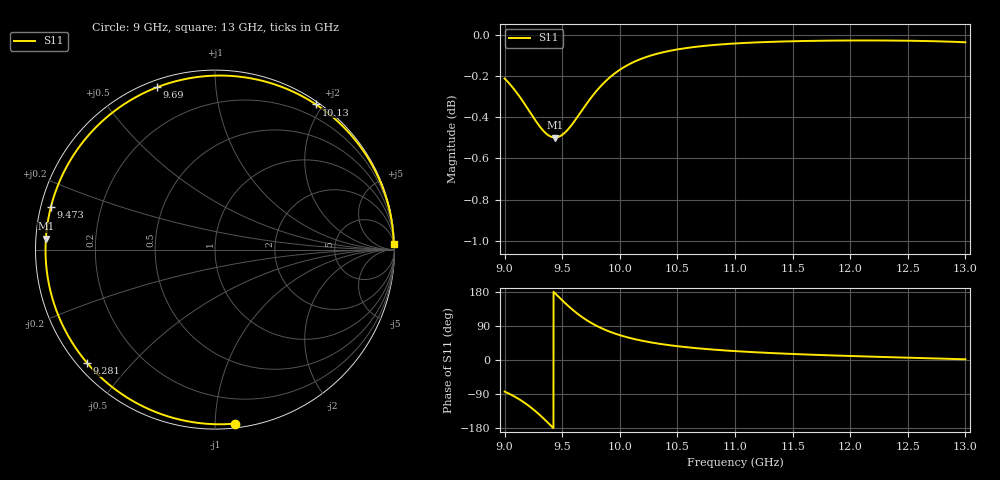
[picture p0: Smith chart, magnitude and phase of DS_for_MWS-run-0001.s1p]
! TOUCHSTONE file generated by CST DESIGN STUDIO
! Date and time: Tue Feb  4 14:15:53 2025
! Project name: C:\Work\MatlabApps\UnitCellOptimizationMatlab\CST\unitcell.cst
! Tree item: Tasks\Sweep1\SPara1\S-Parameters
! Header version: 2024
! Port assignment regex: !\s*Touchstone port\s*([0-9]+)\s*=\s*(CST MWS port|CST DES external port|CST DES block port)\s*(.+)\s* \(\"(.*)\"\)(\s*mode\s*([0-9]+))?.*
! Touchstone port assignment:
! Touchstone port 1 = CST DES external port 1 ("")
# GHz S MA R 50
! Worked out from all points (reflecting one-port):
!   4001 points, 9 GHz to 13 GHz, reference 50 ohm
!   lowest |S11| = -0.5 dB at 9.437 GHz (marker M1), VSWR 34.87, Z = 1.44 + j1.63 ohm
!   phase of S11 starts at -83 deg and turns -275 deg over the sweep
!   S11 on the Smith chart (normalised r, x): 9 GHz: 0.03, -1.12; 9.281 GHz: 0.03, -0.38; 9.473 GHz: 0.03, +0.13; 9.69 GHz: 0.03, +0.70; 10.13 GHz: 0.03, +1.91; 13 GHz: 8, +61
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9  0.9759 -83.4
9.085  0.9699 -96.2
9.156  0.9638 -109.3
9.22  0.9578 -123.3
9.281  0.9521 -138.5
9.325  0.9486 -150.5
9.364  0.9462 -161.8
9.401  0.9447 -172.8
9.437  0.9442 176.3
9.473  0.9447 165.4
9.5  0.9457 157.5
9.549  0.9484 143.6
9.595  0.952 131.4
9.641  0.956 120.3
9.69  0.9603 109.6
9.76  0.9663 96.4
9.843  0.9724 83.6
9.919  0.9769 74.0
10  0.9807 65.6
10.127  0.9852 55.2
10.295  0.9891 45.1
10.5  0.992 36.4
10.723  0.9939 29.6
11  0.9953 23.5
11.5  0.9965 15.9
12  0.9969 10.5
12.5  0.9968 6.1
13  0.9959 1.8
